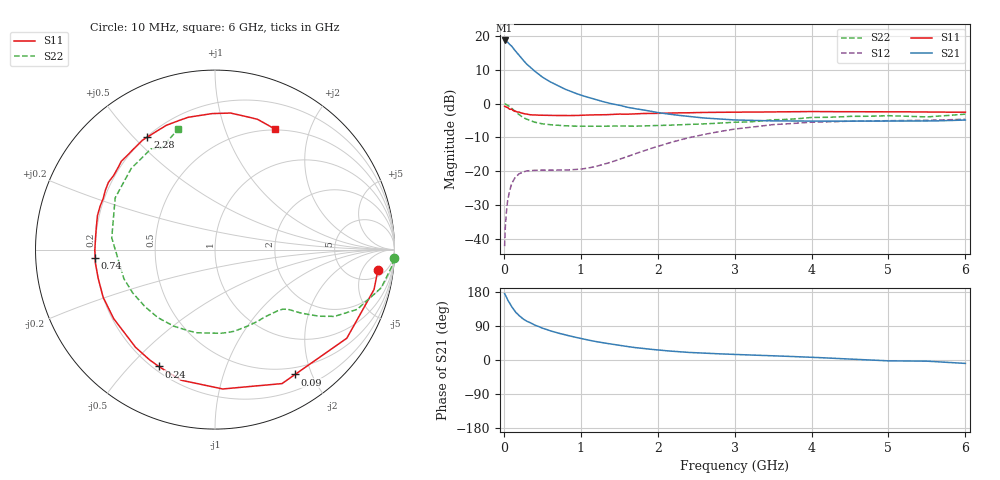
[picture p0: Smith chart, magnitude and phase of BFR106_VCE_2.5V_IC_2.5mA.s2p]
! Infineon Technologies  Discrete & RF Semiconductors
! BFR106
! VCE =  2.5 V,  IC =  2.5 mA
! Common Emitter S-Parameters:  Nov 2015
# GHz  S  MA  R  50
!  f  S11  S21  S12  S22
! GHz  MAG  ANG  MAG  ANG  MAG  ANG  MAG  ANG
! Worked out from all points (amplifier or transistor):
!   210 points, 10 MHz to 6 GHz, reference 50 ohm
!   highest |S21| = 18.8 dB at 10 MHz (marker M1)
!   |S21| within 3 dB of that: start of sweep to 146.4 MHz
!   unconditionally stable (mu >= 1): 739.2 MHz to 2.098 GHz; 3.604 GHz to end of sweep
!   at 185 MHz: K = 0.27, MSG = 17.9 dB, |S12| = -21.1 dB
!   at 1.52 GHz: K = 1.19, MAG = 5.3 dB, |S12| = -16.3 dB
!   at 6 GHz: K = 1.02, MAG = -1.0 dB, |S12| = -4.6 dB
!   S11 on the Smith chart (normalised r, x): 10 MHz: 8, -11; 90 MHz: 0.40, -1.76; 240 MHz: 0.22, -0.61; 740 MHz: 0.20, -0.03; 2.28 GHz: 0.20, +0.55; 6 GHz: 0.49, +1.51
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0.01  0.915 -7.0  8.695 175.0  0.0077 87.2  0.9976 -2.8
0.02  0.9135 -14.1  8.634 171.3  0.0152 83.2  0.9896 -5.4
0.05  0.885 -33.9  8.201 158.2  0.0368 71.7  0.9508 -12.9
0.09  0.8264 -57.3  7.343 144.9  0.0588 59.3  0.8754 -20.7
0.1  0.8347 -63.4  7.198 141.2  0.0646 57.5  0.8593 -22.8
0.15  0.7777 -86.8  6.091 126.6  0.0816 46.1  0.7612 -29.3
0.2  0.7517 -104.5  5.212 116.8  0.0914 39.3  0.6862 -32.7
0.24  0.7226 -115.7  4.587 110.1  0.0959 35.3  0.6378 -34.6
0.26  0.7143 -120.7  4.32 107.1  0.0978 33.7  0.6183 -35.4
0.3  0.7016 -129.1  3.85 102.2  0.1009 31.3  0.5886 -36.7
0.4  0.6831 -145.7  3.053 92.3  0.1033 27.5  0.5331 -38.9
0.5  0.6774 -156.9  2.491 84.1  0.1037 26.7  0.5035 -41.2
0.6  0.6701 -166.3  2.122 77.3  0.1038 27.3  0.4888 -44.0
0.74  0.6693 -176.1  1.766 69.5  0.1033 30.5  0.476 -48.7
1.02  0.6744 168.0  1.321 56.1  0.1079 41.2  0.4644 -59.5
1.4  0.6947 151.5  1.001 41.9  0.1366 56.3  0.4674 -76.8
2.02  0.7205 129.4  0.735 26.1  0.237 61.8  0.4758 -108.8
2.28  0.7315 121.0  0.672 21.7  0.2882 59.0  0.4861 -123.1
3.1  0.7514 99.4  0.571 14.0  0.4334 42.7  0.5341 -167.4
4.1  0.7642 82.3  0.551 6.3  0.535 21.2  0.6267 149.2
5.1  0.761 70.9  0.554 -2.4  0.5626 5.3  0.6594 121.5
6  0.7498 63.3  0.573 -9.0  0.5898 -5.2  0.7012 107.2
